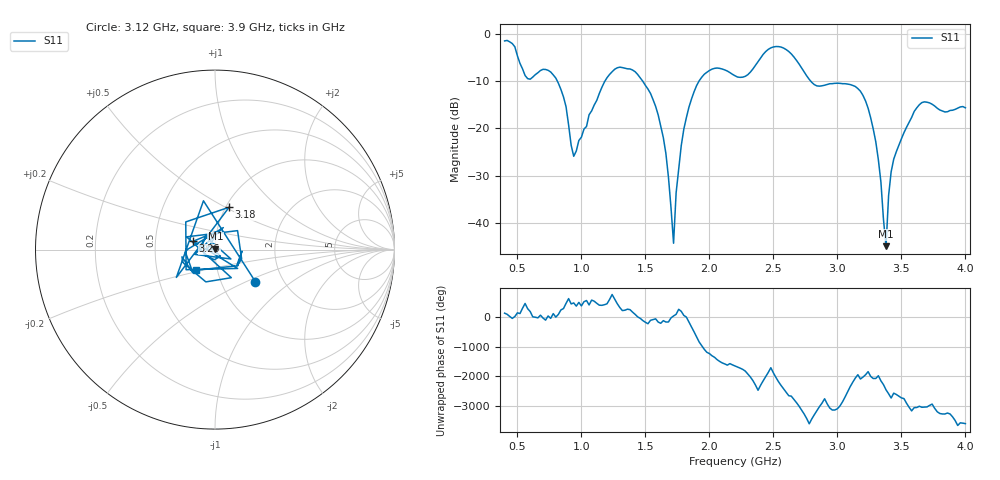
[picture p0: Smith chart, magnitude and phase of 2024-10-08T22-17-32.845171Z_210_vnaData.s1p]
! Created with skrf (http://scikit-rf.org).
# Hz S RI R 50.0
!freq ReS11 ImS11
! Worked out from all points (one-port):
!   181 points, 400 MHz to 4 GHz, reference 50 ohm
!   lowest |S11| = -45.0 dB at 3.38 GHz (marker M1), VSWR 1.01, Z = 50.3 + j0.502 ohm
!   |S11| at or under -10 dB: 813.1 MHz to 1.183 GHz (369.4 MHz wide, 37 % of centre); 1.48 GHz to 1.918 GHz (437.1 MHz wide, 25.7 % of centre); 2.794 GHz to end of sweep
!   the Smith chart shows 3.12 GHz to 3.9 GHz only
!   S11 on the Smith chart (normalised r, x): 3.12 GHz: 1.45, -0.56; 3.18 GHz: 1.04, +0.52; 3.26 GHz: 0.78, +0.07; 3.9 GHz: 0.79, -0.19
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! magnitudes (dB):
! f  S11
! 400 MHz  -1.4
! 580 MHz  -9.4
! 740 MHz  -7.6
! 860 MHz  -13.3
! 940 MHz  -25.9
! 1.18 GHz  -10.1
! 1.3 GHz  -7.0
! 1.58 GHz  -15.3
! 1.66 GHz  -25.3
! 1.72 GHz  -44.4
! 1.76 GHz  -28.7
! 1.82 GHz  -17.7
! 1.92 GHz  -9.9
! 2.2 GHz  -8.8
! 2.5 GHz  -2.7
! 2.66 GHz  -4.8
! 2.84 GHz  -11.0
! 3.1 GHz  -10.7
! 3.12 GHz  -10.9
! 3.18 GHz  -12.1
! 3.26 GHz  -17.7
! 3.32 GHz  -26.6
! 3.38 GHz  -45.0
! 3.42 GHz  -29.2
! 3.56 GHz  -18.7
! 3.68 GHz  -14.3
! 3.9 GHz  -16.1
! 4 GHz  -15.6
